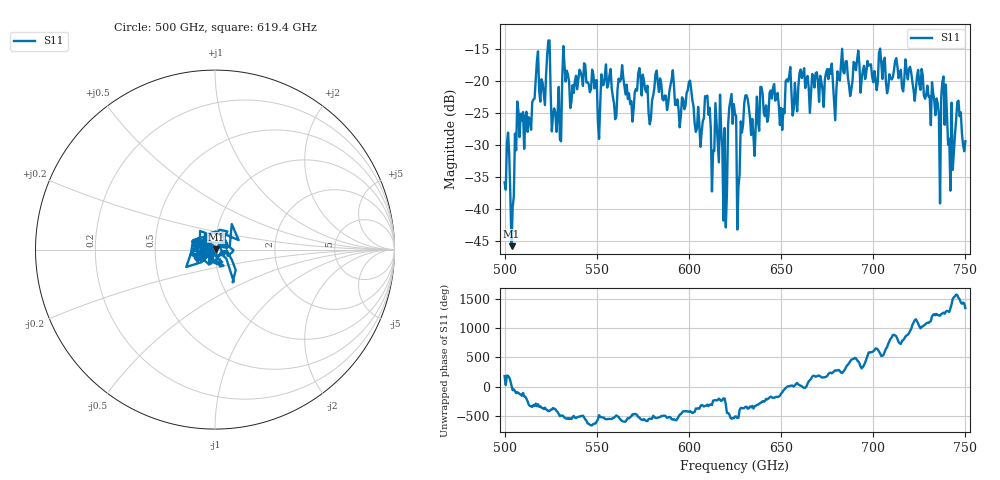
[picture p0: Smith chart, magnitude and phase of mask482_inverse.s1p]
!Created with skrf (http://scikit-rf.org).
# GHz S MA R 50.0
!freq magS11 angS11
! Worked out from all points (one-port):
!   401 points, 500 GHz to 750 GHz, reference 50 ohm
!   lowest |S11| = -45.8 dB at 503.8 GHz (marker M1), VSWR 1.01, Z = 50.5 + j0.147 ohm
!   |S11| at or under -10 dB: start of sweep to end of sweep
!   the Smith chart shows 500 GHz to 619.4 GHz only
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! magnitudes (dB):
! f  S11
! 500 GHz  -35.8
! 503.8 GHz  -45.8
! 506.9 GHz  -23.2
! 513.8 GHz  -26.0
! 516.9 GHz  -20.0
! 523.8 GHz  -13.7
! 529.4 GHz  -20.9
! 531.2 GHz  -19.7
! 533.1 GHz  -20.1
! 550.6 GHz  -26.4
! 562.5 GHz  -20.1
! 593.8 GHz  -22.9
! 610 GHz  -22.3
! 612.5 GHz  -37.2
! 618.1 GHz  -30.4
! 619.4 GHz  -27.3
! 622.5 GHz  -23.1
! 625 GHz  -25.2
! 627.5 GHz  -34.6
! 631.2 GHz  -22.2
! 635 GHz  -28.6
! 640 GHz  -22.1
! 656.2 GHz  -25.4
! 687.5 GHz  -22.3
! 718.8 GHz  -19.7
! 742.5 GHz  -23.4
! 746.2 GHz  -23.1
! 750 GHz  -29.4
